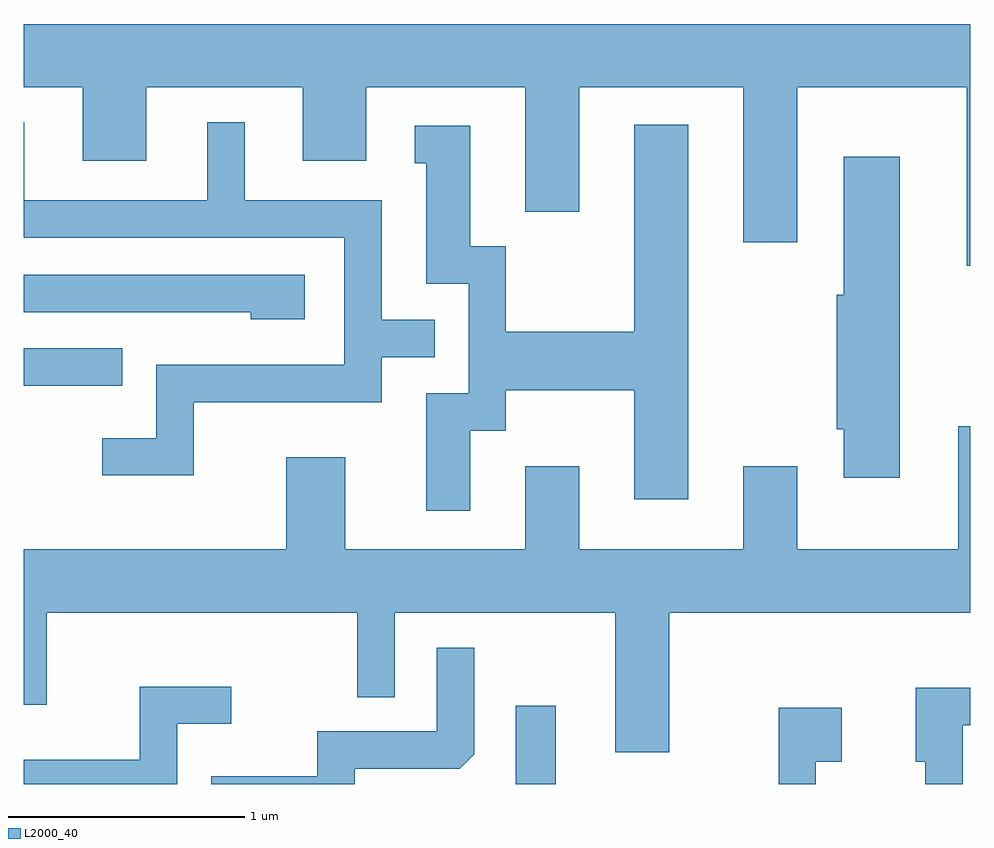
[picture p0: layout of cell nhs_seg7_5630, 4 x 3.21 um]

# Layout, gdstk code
import gdstk
lib = gdstk.Library(unit=1e-6, precision=1e-09)
def R(c, l, rs):  # rectangles x0, y0, x1, y1
    for r in rs: c.add(gdstk.rectangle(r[:2], r[2:], *l))
def P(c, l, *ps):  # polygons
    for p in ps: c.add(gdstk.Polygon(p, *l))
L2000_40 = (2000, 40)

nhs_seg7_5630 = lib.new_cell('nhs_seg7_5630')
R(nhs_seg7_5630, L2000_40, [(359.691,1720.252,359.859,1720.583), (357.611,1721.936,358.028,1722.094)])
P(nhs_seg7_5630, L2000_40, [(361.611,1723.464),(357.611,1723.464),(357.611,1723.196),(357.861,1723.196),(357.861,1722.886),(358.129,1722.886),(358.129,1723.196),(358.791,1723.196),(358.791,1722.886),(359.059,1722.886),(359.059,1723.196),(359.731,1723.196),(359.731,1722.671),(359.959,1722.671),(359.959,1723.196),(360.651,1723.196),(360.651,1722.541),(360.879,1722.541),(360.879,1723.196),(361.596,1723.196),(361.596,1722.443),(361.611,1722.443)],
  [(358.329,1721.866),(359.124,1721.866),(359.124,1722.056),(359.348,1722.056),(359.348,1722.214),(359.124,1722.214),(359.124,1722.719),(358.544,1722.719),(358.544,1723.048),(358.386,1723.048),(358.386,1722.719),(357.614,1722.719),(357.614,1723.048),(357.611,1723.048),(357.611,1722.561),(358.966,1722.561),(358.966,1722.024),(358.171,1722.024),(358.171,1721.714),(357.943,1721.714),(357.943,1721.556),(358.329,1721.556)],
  [(359.499,1721.746),(359.649,1721.746),(359.649,1721.916),(360.191,1721.916),(360.191,1721.456),(360.419,1721.456),(360.419,1723.039),(360.191,1723.039),(360.191,1722.164),(359.649,1722.164),(359.649,1722.524),(359.499,1722.524),(359.499,1723.034),(359.263,1723.034),(359.263,1722.876),(359.311,1722.876),(359.311,1722.366),(359.491,1722.366),(359.491,1721.904),(359.311,1721.904),(359.311,1721.406),(359.499,1721.406)],
  [(361.314,1722.904),(361.076,1722.904),(361.076,1722.319),(361.046,1722.319),(361.046,1721.751),(361.076,1721.751),(361.076,1721.546),(361.314,1721.546)],
  [(358.799,1722.404),(357.611,1722.404),(357.611,1722.246),(358.571,1722.246),(358.571,1722.216),(358.799,1722.216)],
  [(360.339,1720.976),(361.611,1720.976),(361.611,1721.764),(361.561,1721.764),(361.561,1721.244),(360.879,1721.244),(360.879,1721.594),(360.651,1721.594),(360.651,1721.244),(359.959,1721.244),(359.959,1721.594),(359.731,1721.594),(359.731,1721.244),(358.969,1721.244),(358.969,1721.634),(358.721,1721.634),(358.721,1721.244),(357.611,1721.244),(357.611,1720.586),(357.709,1720.586),(357.709,1720.976),(359.021,1720.976),(359.021,1720.618),(359.179,1720.618),(359.179,1720.976),(360.111,1720.976),(360.111,1720.386),(360.339,1720.386)],
  [(359.009,1720.316),(359.454,1720.316),(359.514,1720.377),(359.514,1720.828),(359.356,1720.828),(359.356,1720.474),(358.851,1720.474),(358.851,1720.284),(358.403,1720.284),(358.403,1720.252),(359.009,1720.252)],
  [(358.259,1720.506),(358.488,1720.506),(358.488,1720.664),(358.101,1720.664),(358.101,1720.354),(357.611,1720.354),(357.611,1720.252),(358.259,1720.252)],
  [(361.579,1720.501),(361.611,1720.501),(361.611,1720.659),(361.381,1720.659),(361.381,1720.346),(361.421,1720.346),(361.421,1720.252),(361.579,1720.252)],
  [(360.959,1720.346),(361.069,1720.346),(361.069,1720.574),(360.801,1720.574),(360.801,1720.252),(360.959,1720.252)])

lib.write_gds('nhs_seg7_5630.gds')
